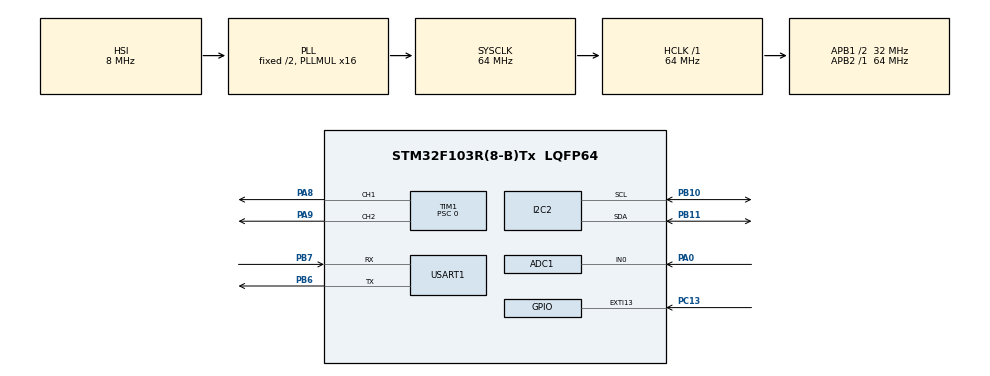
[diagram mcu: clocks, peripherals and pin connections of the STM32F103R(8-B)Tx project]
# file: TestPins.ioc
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ADC1.Channel-1\#ChannelRegularConversion=ADC_CHANNEL_0
ADC1.NbrOfConversionFlag=1
ADC1.Rank-1\#ChannelRegularConversion=1
ADC1.SamplingTime-1\#ChannelRegularConversion=ADC_SAMPLETIME_1CYCLE_5
ADC1.master=1
I2C2.I2C_Mode=I2C_Fast
Mcu.Family=STM32F1
Mcu.Name=STM32F103R(8-B)Tx
Mcu.Package=LQFP64
NVIC.PriorityGroup=NVIC_PRIORITYGROUP_4
NVIC.USART1_IRQn=true\:0\:0\:false\:false\:true\:true\:true\:true
PA0-WKUP.Signal=ADCx_IN0
PA8.Signal=S_TIM1_CH1
PA9.Signal=S_TIM1_CH2
PB10.Mode=I2C
PB10.Signal=I2C2_SCL
PB11.Mode=I2C
PB11.Signal=I2C2_SDA
PB6.Mode=Asynchronous
PB6.Signal=USART1_TX
PB7.Mode=Asynchronous
PB7.Signal=USART1_RX
PC13-TAMPER-RTC.Signal=GPXTI13
ProjectManager.HeapSize=0x200
ProjectManager.StackSize=0x400
ProjectManager.TargetToolchain=MDK-ARM V5.32
RCC.ADCPresc=RCC_ADCPCLK2_DIV6
RCC.AHBFreq_Value=64000000
RCC.APB1CLKDivider=RCC_HCLK_DIV2
RCC.APB1Freq_Value=32000000
RCC.APB1TimFreq_Value=64000000
RCC.APB2Freq_Value=64000000
RCC.APB2TimFreq_Value=64000000
RCC.HCLKFreq_Value=64000000
RCC.PLLMUL=RCC_PLL_MUL16
RCC.SYSCLKFreq_VALUE=64000000
RCC.SYSCLKSource=RCC_SYSCLKSOURCE_PLLCLK
RCC.USBFreq_Value=64000000
SH.ADCx_IN0.0=ADC1_IN0,IN0
SH.S_TIM1_CH1.0=TIM1_CH1,PWM Generation1 CH1
SH.S_TIM1_CH2.0=TIM1_CH2,PWM Generation2 CH2
TIM1.AutoReloadPreload=TIM_AUTORELOAD_PRELOAD_ENABLE
TIM1.Channel-PWM\ Generation1\ CH1=TIM_CHANNEL_1
TIM1.Channel-PWM\ Generation2\ CH2=TIM_CHANNEL_2
TIM1.Period=19999
TIM1.Prescaler=0
TIM1.Pulse-PWM\ Generation1\ CH1=10000
TIM1.Pulse-PWM\ Generation2\ CH2=10000
TIM1.TIM_MasterOutputTrigger=TIM_TRGO_UPDATE
USART1.VirtualMode=VM_ASYNC
VP_SYS_VS_ND.Mode=No_Debug
VP_TIM1_VS_ClockSourceINT.Mode=Internal
board=NUCLEO-F103RB

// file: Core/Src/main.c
/* USER CODE BEGIN Header */
/**
  ******************************************************************************
  * @file           : main.c
  * @brief          : Main program body
  ******************************************************************************
  * @attention
  *
  * Copyright (c) 2026 STMicroelectronics.
  * All rights reserved.
  *
  * This software is licensed under terms that can be found in the LICENSE file
  * in the root directory of this software component.
  * If no LICENSE file comes with this software, it is provided AS-IS.
  *
  ******************************************************************************
  */
/* USER CODE END Header */
#include "main.h"

/* USER CODE BEGIN Includes */
#include <string.h>
#include <stdarg.h>
#include <stdint.h>
#include <stdbool.h>
#include <math.h>

#include "ssd1306.h"
#include "fonts.h"
/* USER CODE END Includes */

/* USER CODE BEGIN PD */
#define WIFI_NAME      "***"
#define WIFI_PASSWORD  "***"

#define SERVER_IP      "172.20.10.2"
#define SERVER_PORT    5000
#define SEND_PERIOD_MS 1000
#define USE_WATCHDOG   1
#define DEBUG_OLED_DC  1
#define AUTO_START     0

#define START_PERCENT     50

#define RAW_SATURATION    4000U
#define Q_SIZE            1024U

#ifndef LED_RED_Pin
#define LED_RED_Pin    GPIO_PIN_8
#endif
#ifndef LED_IR_Pin
#define LED_IR_Pin     GPIO_PIN_9
#endif
#define LED_RED_PIN    ((uint32_t)LED_RED_Pin)
#define LED_IR_PIN     ((uint32_t)LED_IR_Pin)

#define LD2_ON()       (GPIOA->BSRR = (uint32_t)GPIO_PIN_5)           /* zelena LED na Nucleu (PA5) */
#define LD2_OFF()      (GPIOA->BSRR = (uint32_t)GPIO_PIN_5 << 16)
/* USER CODE END PD */

ADC_HandleTypeDef hadc1;

I2C_HandleTypeDef hi2c2;

TIM_HandleTypeDef htim1;

UART_HandleTypeDef huart1;

/* USER CODE BEGIN PV */
/* trajanja u impulsima TIM1 (racunaju se iz SystemCoreClock u Acq_Start) */
static uint32_t T_PHASE, T_MIN, T_START, T_TRIG;
/* USER CODE END PV */

void SystemClock_Config(void);
static void MX_GPIO_Init(void);
static void MX_TIM1_Init(void);
static void MX_ADC1_Init(void);
static void MX_I2C2_Init(void);
static void MX_USART1_UART_Init(void);

/* USER CODE BEGIN 0 */

static int sfmt(char *dst, int cap, const char *fmt, ...)
{
    va_list ap;
    int n = 0;
    va_start(ap, fmt);
#define SFMT_PUT(c) do { if (n < cap - 1) dst[n] = (c); n++; } while (0)
    while (*fmt)
    {
        if (*fmt != '%') { SFMT_PUT(*fmt); fmt++; continue; }
        fmt++;

        int width = 0, prec = -1, lng = 0, len = 0;
        char tmp[12];
        const char *s = tmp;

        while (*fmt >= '0' && *fmt <= '9') { width = width * 10 + (*fmt - '0'); fmt++; }
        if (*fmt == '.')
        {
            fmt++; prec = 0;
            while (*fmt >= '0' && *fmt <= '9') { prec = prec * 10 + (*fmt - '0'); fmt++; }
        }
        if (*fmt == 'l') { lng = 1; fmt++; }
        char t = *fmt;
        if (t) fmt++;

        if (t == 's')
        {
            s = va_arg(ap, const char *);
            while (s[len] && (prec < 0 || len < prec)) len++;
        }
        else if (t == 'd' || t == 'u')
        {
            unsigned long v;
            int neg = 0, k = 0;
            char rev[12];
            if (t == 'd')
            {
                long sv = lng ? va_arg(ap, long) : (long)va_arg(ap, int);
                if (sv < 0) { neg = 1; v = 0UL - (unsigned long)sv; } else v = (unsigned long)sv;
            }
            else v = lng ? va_arg(ap, unsigned long) : (unsigned long)va_arg(ap, unsigned int);
            do { rev[k++] = (char)('0' + (int)(v % 10UL)); v /= 10UL; } while (v);
            if (neg) rev[k++] = '-';
            while (k) tmp[len++] = rev[--k];
        }
        else if (t) { tmp[0] = t; len = 1; }

        for (int p = len; p < width; p++) SFMT_PUT(' ');
        for (int p = 0; p < len; p++)     SFMT_PUT(s[p]);
    }
#undef SFMT_PUT
    if (cap > 0) dst[n < cap ? n : cap - 1] = 0;
    va_end(ap);
    return n;
}

#define FS                200.0f    /* izlazna frekvencija odabiranja (Hz)        */
#define ALPHA_DC          0.0093f   /* IIR koeficijent za DC (fc ~ 0,3 Hz)        */
#define SPO2_A            110.0f    /* SpO2 = SPO2_A - SPO2_B * R (kalibracija prema referentnom oksimetru) */
#define SPO2_B            25.0f
#define DC_LOW            500.0f    /* ispod -> signal slab (AGC povecava sirinu) */
#define DC_HIGH           1600.0f   /* iznad -> signal jak (AGC smanjuje sirinu)  */
#define FINGER_IR_MIN     100.0f    /* IR (RED-AMB) ispod -> nema prsta           */
#define AVG_BEATS         4         /* usrednjavanje rezultata po 4 otkucaja      */
#define BEAT_MIN_SAMPLES  60        /* 300 ms izmedju dva otkucaja                */
#define BEAT_MAX_SAMPLES  400       /* 2 s = 30 otkucaja/min                      */
#define BEAT_LOST_SAMPLES 800       /* 4 s bez otkucaja -> rezultat nije pouzdan  */
#define SETTLE_SAMPLES    600       /* 3 s cekanja posle promene sirine (200 Hz)  */

#define PWM_MIN_TICKS     T_MIN     /* 100 us   */
#define PWM_MAX_TICKS     T_PHASE   /* 312,5 us */
#define PWM_INIT_TICKS    T_START   /* 50 % faze */

/* Elipticni nisko-propusni filter 5. reda: fc = 5 Hz, fs = 200 Hz, talasanje u propusnom opsegu
   0,5 dB, slabljenje u nepropusnom opsegu 40 dB. Tri sekcije drugog reda {b0,b1,b2,a1,a2}
   (prva je zapravo prvog reda). Projektovano sa scipy.signal.ellip(5, 0.5, 40, 5, fs=200, output='sos'). */
static const float ELL[3][5] = {
    { 0.0037368455f,  0.0037368455f, 0.0f,           -0.9286583105f, 0.0f           },
    { 1.0f,          -1.9143121581f, 1.0f,           -1.9020096863f, 0.9171306429f  },
    { 1.0f,          -1.9577637600f, 1.0f,           -1.9544652492f, 0.9795389129f  }
};

/* jedan odbirak kroz filter; z[6] = stanja tri sekcije (direktna forma II, transponovana) */
static float Ellip5(float *z, float x)
{
    for (uint8_t i = 0; i < 3U; i++)
    {
        float y = ELL[i][0] * x + z[2U * i];
        z[2U * i]      = ELL[i][1] * x - ELL[i][3] * y + z[2U * i + 1U];
        z[2U * i + 1U] = ELL[i][2] * x - ELL[i][4] * y;
        x = y;
    }
    return x;
}

/* medijana n (1..4) intervala u odbircima */
static float Median_Interval(const uint16_t *v, uint8_t n)
{
    uint16_t t[AVG_BEATS];
    for (uint8_t i = 0; i < n; i++) t[i] = v[i];
    for (uint8_t i = 1; i < n; i++)                      /* sortiranje umetanjem */
    {
        uint16_t x = t[i];
        int8_t j = (int8_t)i - 1;
        while (j >= 0 && t[j] > x) { t[j + 1] = t[j]; j--; }
        t[j + 1] = x;
    }
    return (n & 1U) ? (float)t[n / 2U] : 0.5f * ((float)t[n / 2U - 1U] + (float)t[n / 2U]);
}

typedef struct {

    uint32_t sum_red, sum_ir, sum_amb;
    uint8_t  avg_count;

    uint16_t pwm_red;
    uint16_t pwm_ir;
    uint32_t agc_hold_timer;

    bool  filt_init;
    float dc_red, dc_ir;
    float ac_red, ac_ir;
    float ac_ir_filt;

    uint32_t sample_counter;
    uint32_t last_peak_sample;
    float    ac_ir_sq_sum, ac_red_sq_sum;
    uint32_t pulse_sample_count;
    float    env;
    bool     armed;
    bool     have_ref;
    uint16_t int_buf[AVG_BEATS];
    float    spo2_buf[AVG_BEATS];         /* R po otkucaju (iz proseka se racuna SpO2) */
    float    zr[6], zi[6];                /* stanja eliptickog filtra: crveni, IR */
    uint8_t  int_n, spo2_n, int_idx, spo2_idx;

    /* izlaz */
    float spo2;
    float r_mean;                 /* prosecno R poslednjih otkucaja */
    float heart_rate;
    bool  finger_present;
    bool  reliable_result;
} Oksimetar;

static Oksimetar my_oximeter;

static void Beat_Reset(Oksimetar *dev)
{
    dev->ac_ir_sq_sum = dev->ac_red_sq_sum = 0.0f;
    dev->pulse_sample_count = 0;
    dev->last_peak_sample = dev->sample_counter;
    dev->armed = false;
    dev->have_ref = false;
    dev->int_n = dev->spo2_n = dev->int_idx = dev->spo2_idx = 0;
    dev->reliable_result = false;
}

static void Oksimetar_Init(Oksimetar *dev)
{
    dev->sum_red = dev->sum_ir = dev->sum_amb = 0;
    dev->avg_count = 0;

    dev->pwm_red = (uint16_t)PWM_INIT_TICKS;
    dev->pwm_ir  = (uint16_t)PWM_INIT_TICKS;
    dev->agc_hold_timer = 0;

    dev->filt_init = false;
    dev->dc_red = dev->dc_ir = 0.0f;
    dev->ac_red = dev->ac_ir = 0.0f;
    dev->ac_ir_filt = 0.0f;
    dev->env = 0.0f;

    dev->sample_counter = 0;
    Beat_Reset(dev);

    dev->spo2 = 0.0f;
    dev->r_mean = 0.0f;
    dev->heart_rate = 0.0f;
    dev->finger_present = false;
}

static void Oksimetar_Process200Hz(Oksimetar *dev)
{
    dev->sample_counter++;
    dev->pulse_sample_count++;

    dev->ac_ir_sq_sum  += dev->ac_ir  * dev->ac_ir;
    dev->ac_red_sq_sum += dev->ac_red * dev->ac_red;

    float a = dev->ac_ir_filt < 0.0f ? -dev->ac_ir_filt : dev->ac_ir_filt;
    dev->env = (a > dev->env) ? a : dev->env * 0.998f;
    float hyst = 0.25f * dev->env;
    if (hyst < 1.5f) hyst = 1.5f;

    uint32_t since = dev->sample_counter - dev->last_peak_sample;

    if (dev->ac_ir_filt < -hyst)
    {
        dev->armed = true;
    }
    else if (dev->armed && dev->ac_ir_filt >= 0.0f)
    {
        dev->armed = false;                              /* svaki prolaz kroz nulu se trosi, i prerani (sum) */

        if (since >= BEAT_MIN_SAMPLES)                   /* ranije od 300 ms = sum, preskoci */
        {
            if (!dev->have_ref)
            {
                dev->have_ref = true;                    /* prvi otkucaj = samo referenca */
            }
            else if (since <= BEAT_MAX_SAMPLES && dev->pulse_sample_count > 10)
            {
                /* 1) interval -> puls: HR = 60 * fs / N, N = medijana poslednjih intervala (otporna na pojedinacne greske) */
                dev->int_buf[dev->int_idx] = (uint16_t)since;
                dev->int_idx = (uint8_t)((dev->int_idx + 1U) % AVG_BEATS);
                if (dev->int_n < AVG_BEATS) dev->int_n++;
                dev->heart_rate = 60.0f * FS / Median_Interval(dev->int_buf, dev->int_n);

                /* 2) RMS filtriranih AC komponenti, R = (AC_RED/DC_RED)/(AC_IR/DC_IR) */
                float ac_ir_rms  = sqrtf(dev->ac_ir_sq_sum  / (float)dev->pulse_sample_count);
                float ac_red_rms = sqrtf(dev->ac_red_sq_sum / (float)dev->pulse_sample_count);
                if (dev->dc_red > 1.0f && dev->dc_ir > 1.0f && ac_ir_rms > 1.0f)
                {
                    float r_ratio = (ac_red_rms / dev->dc_red) / (ac_ir_rms / dev->dc_ir);
                    if (r_ratio >= 0.1f && r_ratio <= 3.5f)
                    {
                        dev->spo2_buf[dev->spo2_idx] = r_ratio;
                        dev->spo2_idx = (uint8_t)((dev->spo2_idx + 1U) % AVG_BEATS);
                        if (dev->spo2_n < AVG_BEATS) dev->spo2_n++;
                    }
                }
                if (dev->spo2_n > 0 && dev->int_n >= 2)
                {
                    float sm = 0.0f;
                    for (uint8_t k = 0; k < dev->spo2_n; k++) sm += dev->spo2_buf[k];
                    dev->r_mean = sm / (float)dev->spo2_n;
                    float s = SPO2_A - SPO2_B * dev->r_mean;
                    if (s > 100.0f) s = 100.0f;
                    if (s < 0.0f)   s = 0.0f;
                    dev->spo2 = s;
                    dev->reliable_result = true;
                }
            }

            dev->last_peak_sample = dev->sample_counter;
            dev->ac_ir_sq_sum = dev->ac_red_sq_sum = 0.0f;
            dev->pulse_sample_count = 0;
        }
    }
    else if (since > BEAT_LOST_SAMPLES)
    {
        Beat_Reset(dev);                                 /* predugo bez otkucaja: trazi iznova */
    }
}

static void Oksimetar_ProcessMultiplexSample(Oksimetar *dev, uint16_t red, uint16_t ir, uint16_t amb)
{
    dev->sum_red += red;
    dev->sum_ir  += ir;
    dev->sum_amb += amb;
    dev->avg_count++;

    if (dev->avg_count < 4) return;

    float avg_red = (float)dev->sum_red / 4.0f;
    float avg_ir  = (float)dev->sum_ir  / 4.0f;
    float avg_amb = (float)dev->sum_amb / 4.0f;
    dev->sum_red = dev->sum_ir = dev->sum_amb = 0;
    dev->avg_count = 0;

    /* korekcija ambijentalnog svetla: izrazi (14) i (15) */
    float red_corr = avg_red - avg_amb;
    float ir_corr  = avg_ir  - avg_amb;
    if (red_corr < 0.0f) red_corr = 0.0f;
    if (ir_corr  < 0.0f) ir_corr  = 0.0f;

    /* prisustvo prsta */
    if (ir_corr > FINGER_IR_MIN)
    {
        dev->finger_present = true;
    }
    else
    {
        dev->finger_present = false;
        dev->filt_init = false;                          /* sledeci prst pocinje cist */
        dev->agc_hold_timer = 0;
        dev->pwm_red = (uint16_t)PWM_INIT_TICKS;
        dev->pwm_ir  = (uint16_t)PWM_INIT_TICKS;
        Beat_Reset(dev);
        return;
    }

    /* IIR: DC komponenta, a AC = signal - DC */
    if (!dev->filt_init)
    {
        dev->dc_red = red_corr;                          /* bez dugog prelaznog procesa od nule */
        dev->dc_ir  = ir_corr;
        dev->ac_ir_filt = 0.0f;
        memset(dev->zr, 0, sizeof(dev->zr));             /* stanja eliptickog filtra */
        memset(dev->zi, 0, sizeof(dev->zi));
        dev->filt_init = true;
    }
    dev->dc_red += ALPHA_DC * (red_corr - dev->dc_red);
    dev->dc_ir  += ALPHA_DC * (ir_corr  - dev->dc_ir);
    /* AC = (signal - DC) kroz eliptic LP filter 5. reda (fc = 5 Hz); isti filter za oba kanala */
    dev->ac_red = Ellip5(dev->zr, red_corr - dev->dc_red);
    dev->ac_ir  = Ellip5(dev->zi, ir_corr  - dev->dc_ir);
    dev->ac_ir_filt = dev->ac_ir;

    /* AGC: sirina PWM impulsa tako da DC ostane u opsegu 500 - 1600 */
    if (dev->agc_hold_timer > 0)
    {
        dev->agc_hold_timer--;
        if (dev->agc_hold_timer == 0) Beat_Reset(dev);   /* posle cekanja nov pocetak detekcije */
        return;                                          /* dok traje cekanje, SpO2 se ne racuna */
    }

    bool adjust = false;
    if (dev->dc_red < DC_LOW && dev->pwm_red < PWM_MAX_TICKS)       { dev->pwm_red = (uint16_t)(dev->pwm_red * 1.2f); adjust = true; }
    else if (dev->dc_red > DC_HIGH && dev->pwm_red > PWM_MIN_TICKS) { dev->pwm_red = (uint16_t)(dev->pwm_red * 0.8f); adjust = true; }

    if (dev->dc_ir < DC_LOW && dev->pwm_ir < PWM_MAX_TICKS)         { dev->pwm_ir = (uint16_t)(dev->pwm_ir * 1.2f);  adjust = true; }
    else if (dev->dc_ir > DC_HIGH && dev->pwm_ir > PWM_MIN_TICKS)   { dev->pwm_ir = (uint16_t)(dev->pwm_ir * 0.8f);  adjust = true; }

    if (dev->pwm_red > PWM_MAX_TICKS) dev->pwm_red = (uint16_t)PWM_MAX_TICKS;
    if (dev->pwm_red < PWM_MIN_TICKS) dev->pwm_red = (uint16_t)PWM_MIN_TICKS;
    if (dev->pwm_ir  > PWM_MAX_TICKS) dev->pwm_ir  = (uint16_t)PWM_MAX_TICKS;
    if (dev->pwm_ir  < PWM_MIN_TICKS) dev->pwm_ir  = (uint16_t)PWM_MIN_TICKS;

    if (adjust)
    {
        dev->agc_hold_timer = SETTLE_SAMPLES;            /* 3 s da se IIR stabilizuje */
        Beat_Reset(dev);
        return;
    }

    Oksimetar_Process200Hz(dev);                         /* puls i SpO2 */
}

typedef struct { uint16_t red, ir, amb; } Raw_t;

static volatile uint16_t adc_buf[4];     /* upisuje DMA: RED, IR, AMB, pauza */
static volatile uint8_t  g_phase;
static volatile uint8_t  g_leds_on;      /* 1 = LED dozvoljene (merenje je ukljuceno) */
static volatile uint8_t  g_measuring;    /* 1 = odbirci idu u red */
static Raw_t             q[Q_SIZE];
static volatile uint16_t q_head, q_tail;
static volatile uint16_t q_overflow;     /* izgubljeni odbirci (gledaj u debageru) */
static volatile uint16_t dma_resync;     /* mora da miruje */
static uint16_t          sat_hold;       /* > 0: nedavno je bilo zasicenje (odbrojava se po odbirku) */
static volatile uint8_t  system_active;  /* 1 = merenje ukljuceno (dugme B1) */

/* kraj ciklusa (DMA upisao 4 odbirka): ide u red, obradu radi glavni program */
static void Acq_ProcessCycle(void)
{
    if (!g_measuring) return;
    uint16_t n = (uint16_t)((q_head + 1U) & (Q_SIZE - 1U));
    if (n != q_tail)
    {
        q[q_head].red = adc_buf[0];
        q[q_head].ir  = adc_buf[1];
        q[q_head].amb = adc_buf[2];
        q_head = n;
    }
    else q_overflow++;
}

/* upis CCR (preload) za fazu ph: stupa na snagu na sledecem UPDATE-u */
static inline void Acq_ProgramPhase(uint8_t ph)
{
    uint32_t r = 0U, i = 0U, trig = T_TRIG;
    if (g_leds_on)
    {
        if (ph == 0U)      r = my_oximeter.pwm_red;      /* sirinu odredjuje AGC */
        else if (ph == 1U) i = my_oximeter.pwm_ir;
    }
    TIM1->CCR1 = r;
    TIM1->CCR2 = i;
    TIM1->CCR3 = trig;
}

/* pocetak svake faze */
void TIM1_UP_IRQHandler(void)
{
    if (TIM1->SR & TIM_SR_UIF)
    {
        TIM1->SR = ~TIM_SR_UIF;
        uint8_t ph = (uint8_t)((g_phase + 1U) & 3U);
        g_phase = ph;
        if (ph == 0U && DMA1_Channel1->CNDTR != 4U)       /* DMA nije na pocetku ciklusa */
        {
            DMA1_Channel1->CCR  &= ~DMA_CCR_EN;
            DMA1_Channel1->CNDTR = 4U;
            DMA1_Channel1->CCR  |= DMA_CCR_EN;
            dma_resync++;
        }
        Acq_ProgramPhase((uint8_t)((ph + 1U) & 3U));
    }
}

void DMA1_Channel1_IRQHandler(void)
{
    if (DMA1->ISR & DMA_ISR_TCIF1)
    {
        DMA1->IFCR = DMA_IFCR_CGIF1;
        Acq_ProcessCycle();
    }
}

/* TIM1 + ADC1 + DMA1 preko registara (ne zavisi od CubeMX vrednosti) i start PWM-a */
static void Acq_Start(void)
{
    T_PHASE  = SystemCoreClock / 3200UL;            /* 312,5 us */
    T_MIN    = SystemCoreClock / 10000UL;           /* 100 us   */
    T_START  = T_PHASE * START_PERCENT / 100UL;
    T_TRIG   = SystemCoreClock / 20000UL;           /*  50 us   */

    RCC->APB2ENR |= RCC_APB2ENR_ADC1EN | RCC_APB2ENR_IOPAEN | RCC_APB2ENR_IOPCEN
                  | RCC_APB2ENR_AFIOEN | RCC_APB2ENR_TIM1EN;
    RCC->AHBENR  |= RCC_AHBENR_DMA1EN;
    RCC->CFGR = (RCC->CFGR & ~RCC_CFGR_ADCPRE) | RCC_CFGR_ADCPRE_DIV6;   /* ADC takt < 14 MHz */
    (void)RCC->APB2ENR;
    AFIO->MAPR = (AFIO->MAPR & ~AFIO_MAPR_SWJ_CFG) | AFIO_MAPR_SWJ_CFG_JTAGDISABLE;   /* SWD ostaje ukljucen (PA13/PA14) */

    /* PA0 analogni ulaz; PA8/PA9 izlazi na 0 dok PWM ne krene (LED ugasene) */
    GPIOA->CRL &= ~(0xFUL << 0);
    GPIOA->BRR  = LED_RED_PIN | LED_IR_PIN;
    GPIOA->CRH  = (GPIOA->CRH & ~0xFFUL) | 0x33UL;

    GPIOC->CRH = (GPIOC->CRH & ~(0xFUL << 20)) | (0x8UL << 20);          /* PC13 ulaz sa pull-up/down */
    GPIOC->BSRR = (1UL << 13);                                           /* pull-up */
    AFIO->EXTICR[3] = (AFIO->EXTICR[3] & ~(0xFUL << 4)) | (0x2UL << 4);   /* EXTI13 = port C */
    EXTI->RTSR &= ~(1UL << 13);                                          /* ne reaguj na otpustanje dugmeta (CubeMX je ukljucio rastucu ivicu) */
    EXTI->FTSR |= (1UL << 13);
    EXTI->IMR  |= (1UL << 13);
    EXTI->PR    = (1UL << 13);

    /* ADC1: ukljuci, kalibracija, kanal 0, 71,5 ciklusa, 1 konverzija */
    ADC1->CR1 = 0U;
    ADC1->CR2 = ADC_CR2_ADON;
    for (volatile uint32_t k = 0; k < 400U; k++) { }
    ADC1->CR2 |= ADC_CR2_RSTCAL;  while (ADC1->CR2 & ADC_CR2_RSTCAL) { }
    ADC1->CR2 |= ADC_CR2_CAL;     while (ADC1->CR2 & ADC_CR2_CAL)    { }
    ADC1->SMPR2 = (ADC1->SMPR2 & ~ADC_SMPR2_SMP0) | (6UL << ADC_SMPR2_SMP0_Pos);
    ADC1->SQR1 = 0U;
    ADC1->SQR3 = 0U;

    /* DMA1 kanal 1: ADC1->DR -> adc_buf[4], kruzno, 16 bita, prekid na kraju */
    DMA1_Channel1->CCR   = 0U;
    DMA1->IFCR           = DMA_IFCR_CGIF1;
    DMA1_Channel1->CPAR  = (uint32_t)&ADC1->DR;
    DMA1_Channel1->CMAR  = (uint32_t)adc_buf;
    DMA1_Channel1->CNDTR = 4U;
    DMA1_Channel1->CCR   = DMA_CCR_MINC | DMA_CCR_CIRC | DMA_CCR_PSIZE_0 | DMA_CCR_MSIZE_0
                         | DMA_CCR_PL_1 | DMA_CCR_TCIE;
    DMA1_Channel1->CCR  |= DMA_CCR_EN;
    NVIC_SetPriority(DMA1_Channel1_IRQn, 1);
    NVIC_EnableIRQ(DMA1_Channel1_IRQn);

    ADC1->CR2 = (ADC1->CR2 & ~(ADC_CR2_EXTSEL | ADC_CR2_EXTTRIG | ADC_CR2_CONT | ADC_CR2_ALIGN))
              | (2UL << ADC_CR2_EXTSEL_Pos) | ADC_CR2_DMA;

    TIM1->CR1   = 0U;  TIM1->CR2 = 0U;  TIM1->SMCR = 0U;  TIM1->DIER = 0U;
    TIM1->PSC   = 0U;
    TIM1->ARR   = T_PHASE - 1UL;
    TIM1->RCR   = 0U;
    TIM1->CCMR1 = (6UL << TIM_CCMR1_OC1M_Pos) | TIM_CCMR1_OC1PE
                | (6UL << TIM_CCMR1_OC2M_Pos) | TIM_CCMR1_OC2PE;
    TIM1->CCMR2 = (7UL << TIM_CCMR2_OC3M_Pos) | TIM_CCMR2_OC3PE;
    TIM1->CCER  = TIM_CCER_CC1E | TIM_CCER_CC2E | TIM_CCER_CC3E;
    TIM1->BDTR  = TIM_BDTR_MOE;
    TIM1->CR1   = TIM_CR1_ARPE;

    g_phase = 0U;
    Acq_ProgramPhase(0U);
    TIM1->EGR = TIM_EGR_UG;
    TIM1->SR  = 0U;
    Acq_ProgramPhase(1U);

    NVIC_SetPriority(TIM1_UP_IRQn, 0);
    NVIC_EnableIRQ(TIM1_UP_IRQn);
    TIM1->DIER = TIM_DIER_UIE;
    ADC1->CR2 |= ADC_CR2_EXTTRIG;
    GPIOA->CRH = (GPIOA->CRH & ~0xFFUL) | 0xBBUL;
    TIM1->CR1 |= TIM_CR1_CEN;
}

static void Acq_Drain(void)
{
    while (q_tail != q_head)
    {
        Raw_t s = q[q_tail];
        q_tail = (uint16_t)((q_tail + 1U) & (Q_SIZE - 1U));

        if (s.red >= RAW_SATURATION || s.ir >= RAW_SATURATION || s.amb >= RAW_SATURATION) sat_hold = 1600;   /* 2 s */
        else if (sat_hold) sat_hold--;

        Oksimetar_ProcessMultiplexSample(&my_oximeter, s.red, s.ir, s.amb);
    }
}

/* ukljuci / iskljuci merenje (dugme B1) */
static void Measure_Set(uint8_t on)
{
    g_measuring = 0;
    g_leds_on   = 0;
    q_tail = q_head;
    sat_hold = 0;
    Oksimetar_Init(&my_oximeter);
    system_active = on;
    if (on) { g_measuring = 1; g_leds_on = 1; }
}

static void Button_Poll(void)
{

    static uint8_t  prev = 1;
    static uint32_t t_last;
    uint8_t lvl = (uint8_t)((GPIOC->IDR >> 13) & 1U);
    if (prev && !lvl)                                  /* padajuca ivica = pritisak */
    {
        uint32_t now = HAL_GetTick();
        if ((now - t_last) > 200U)                     /* zastita od treperenja kontakata */
        {
            t_last = now;
            Measure_Set(!system_active);
        }
    }
    prev = lvl;
}

static uint8_t oled_ok;
static char    oled_status[24] = "Pulsni oksimetar";
static int16_t disp_spo2 = -1, disp_hr = -1;

static void Oled_Status(const char *s)
{
    uint8_t i = 0;
    while (s[i] && i < sizeof(oled_status) - 1U) { oled_status[i] = s[i]; i++; }
    oled_status[i] = 0;
}

static void Oled_Draw(void)
{
    char b[24];

    SSD1306_Fill(SSD1306_COLOR_BLACK);

    SSD1306_GotoXY(0, 0);
    SSD1306_Puts("Pulsni oksimetar", &Font_7x10, SSD1306_COLOR_WHITE);

    if (disp_spo2 >= 0) sfmt(b, sizeof(b), "SpO2: %d %%", disp_spo2);
    else                sfmt(b, sizeof(b), "SpO2: --");
    SSD1306_GotoXY(0, 24);
    SSD1306_Puts(b, &Font_7x10, SSD1306_COLOR_WHITE);

    if (disp_hr >= 0) sfmt(b, sizeof(b), "HR: %d bpm", disp_hr);
    else              sfmt(b, sizeof(b), "HR: --");
    SSD1306_GotoXY(0, 44);
    SSD1306_Puts(b, &Font_7x10, SSD1306_COLOR_WHITE);

    SSD1306_GotoXY(0, 54);                               /* status: Wi-Fi / server */
    SSD1306_Puts(oled_status, &Font_7x10, SSD1306_COLOR_WHITE);

    SSD1306_UpdateScreen();
}

static void Oled_Refresh(void)
{
    if (oled_ok)
    {
        if (HAL_I2C_IsDeviceReady(&hi2c2, SSD1306_I2C_ADDR, 1, 10) != HAL_OK)
        {
            oled_ok = 0;                                    /* ekran nestao: preskoci, probace opet */
            return;
        }
    }
    else
    {
        if (HAL_I2C_IsDeviceReady(&hi2c2, SSD1306_I2C_ADDR, 2, 30) != HAL_OK) return;   /* nema ga */
        SSD1306_Init();
        oled_ok = 1;
    }
    Oled_Draw();
}

#define ESP_BUF_SZ   512

static char     esp_buf[ESP_BUF_SZ];
static uint16_t esp_n;

static uint8_t  consec_fail;

/* Prijem sa ESP-a ide u DMA kruzni bafer (DMA1 kanal 5 = USART1_RX), pa nijedan bajt ne moze da se
   izgubi dok glavni program racuna SpO2 (jedan obracun traje duze od trajanja jednog bajta na 115200). */
#define RX_RING 512U                                     /* stepen dvojke */
static uint8_t  rx_ring[RX_RING];
static uint16_t rx_tail;

static void Uart_RxStart(void)
{
    RCC->AHBENR |= RCC_AHBENR_DMA1EN;
    DMA1_Channel5->CCR   = 0U;
    DMA1->IFCR           = DMA_IFCR_CGIF5;
    DMA1_Channel5->CPAR  = (uint32_t)&USART1->DR;
    DMA1_Channel5->CMAR  = (uint32_t)rx_ring;
    DMA1_Channel5->CNDTR = RX_RING;
    DMA1_Channel5->CCR   = DMA_CCR_MINC | DMA_CCR_CIRC;  /* 8 bita, periferija -> memorija, bez prekida */
    DMA1_Channel5->CCR  |= DMA_CCR_EN;
    USART1->CR3 |= USART_CR3_DMAR;
    rx_tail = 0U;
}

static void Uart_Config(uint32_t baud)
{
    huart1.Init.BaudRate = baud;
    HAL_UART_Init(&huart1);                              /* brise CR3, pa se DMA prijem ukljucuje iznova */
    Uart_RxStart();
}

static inline int Uart_RxByte(uint8_t *c)
{
    uint16_t head = (uint16_t)(RX_RING - DMA1_Channel5->CNDTR) & (RX_RING - 1U);
    if (head == rx_tail) return 0;
    *c = rx_ring[rx_tail];
    rx_tail = (uint16_t)((rx_tail + 1U) & (RX_RING - 1U));
    return 1;
}

static inline void Uart_Tx(const char *s, uint16_t n)
{
    HAL_UART_Transmit(&huart1, (uint8_t *)s, n, 1000);
}

static inline void Wdg_Kick(void)
{
#if USE_WATCHDOG
    IWDG->KR = 0xAAAA;
#endif
}

static void Wdg_Init(void)
{
#if USE_WATCHDOG
    __HAL_DBGMCU_FREEZE_IWDG();       /* dok si u debageru i stanes na breakpoint, cuvar staje */
    IWDG->KR  = 0x5555;               /* dozvoli upis */
    IWDG->PR  = 6;                    /* LSI ~40 kHz / 256 */
    IWDG->RLR = 0x0FFF;               /* 4096 * 256 / 40 kHz = ~26 s (najmanje ~17 s ako je LSI 60 kHz) */
    IWDG->KR  = 0xAAAA;
    IWDG->KR  = 0xCCCC;
#endif
}

static void Esp_Clear(void)
{
    { uint8_t d; while (Uart_RxByte(&d)) { } }
    esp_buf[0] = 0;
    esp_n = 0;
}

static void Esp_Store(uint8_t c)
{
    if (esp_n >= ESP_BUF_SZ - 1)
    {
        memmove(esp_buf, esp_buf + ESP_BUF_SZ / 2, ESP_BUF_SZ / 2);
        esp_n = ESP_BUF_SZ / 2 - 1;
    }
    esp_buf[esp_n++] = (char)c;
    esp_buf[esp_n] = 0;
}

static uint8_t Measure_Get(uint8_t *spo2, uint8_t *hr);
static void    Oled_Live(void);

static void Esp_Pump(void)
{
    uint8_t c;
    while (Uart_RxByte(&c)) Esp_Store(c);
    Acq_Drain();
    Button_Poll();                               /* dugme B1 radi i dok se ceka odgovor ESP-a */
}

static uint8_t Esp_Wait2(const char *ok, const char *fail, uint32_t timeout_ms)
{
    uint32_t t0 = HAL_GetTick();
    for (;;)
    {
        Wdg_Kick();
        Esp_Pump();
        if (ok   && strstr(esp_buf, ok))   return 1;
        if (fail && strstr(esp_buf, fail)) return 2;
        if ((HAL_GetTick() - t0) >= timeout_ms) return 0;
    }
}

static uint8_t Esp_Cmd2(const char *cmd, const char *ok, const char *fail, uint32_t timeout_ms)
{
    Esp_Clear();
    Uart_Tx(cmd, (uint16_t)strlen(cmd));
    return Esp_Wait2(ok, fail, timeout_ms);
}

static uint8_t Esp_Cmd(const char *cmd, const char *ok, uint32_t timeout_ms)
{
    return Esp_Cmd2(cmd, ok, "ERROR", timeout_ms) == 1;
}

static void Esp_Idle(uint32_t ms)
{
    uint32_t t0 = HAL_GetTick();
    while ((HAL_GetTick() - t0) < ms) { Wdg_Kick(); Esp_Pump(); Oled_Live(); }
}

static void Blink(uint8_t times, uint16_t on_ms, uint16_t off_ms)
{
    for (uint8_t i = 0; i < times; i++)
    {
        LD2_ON();  Esp_Idle(on_ms);
        LD2_OFF(); Esp_Idle(off_ms);
    }
}

static uint8_t Esp_Detect(void)
{
    const uint32_t bauds[2] = { 115200U, 9600U };
    for (uint8_t i = 0; i < 2; i++)
    {
        Uart_Config(bauds[i]);
        for (uint8_t k = 0; k < 3; k++)
        {
            if (Esp_Cmd("AT\r\n", "OK", 1000))
            {
                if (i == 1)                                  /* ESP je na 9600: prebaci ga na 115200 */
                {
                    Esp_Cmd("AT+UART_DEF=115200,8,1,0,0\r\n", "OK", 1000);
                    Uart_Config(115200U);
                    Esp_Idle(100);
                    if (!Esp_Cmd("AT\r\n", "OK", 1000)) return 0;
                }
                return 1;
            }
        }
    }
    return 0;
}

static void Esp_Setup(void)
{
    Esp_Cmd("AT+CWMODE=1\r\n", "OK", 1000);
    Esp_Cmd("AT+CIPMUX=0\r\n", "OK", 1000);
}

static uint8_t wifi_err;

static uint8_t Wifi_Join(void)
{
    char cmd[128];
    sfmt(cmd, sizeof(cmd), "AT+CWJAP=\"%s\",\"%s\"\r\n", WIFI_NAME, WIFI_PASSWORD);
    if (Esp_Cmd2(cmd, "WIFI GOT IP", "FAIL", 20000) == 1)
    {
        Esp_Wait2("OK", NULL, 1500);
        return 1;
    }
    {
        char *p = strstr(esp_buf, "+CWJAP:");
        wifi_err = p ? (uint8_t)(p[7] - '0') : 9U;
    }
    return 0;
}

static uint8_t Tcp_Open(void)
{
    char     cmd[96];
    uint8_t  r;

    Esp_Cmd("AT+CIPCLOSE\r\n", "OK", 500);

    sfmt(cmd, sizeof(cmd), "AT+CIPSTART=\"TCP\",\"%s\",%d\r\n", SERVER_IP, SERVER_PORT);
    r = Esp_Cmd2(cmd, "OK", "ERROR", 8000);
    return (r == 1 || strstr(esp_buf, "ALREADY")) ? 1 : 0;
}

static uint8_t Link_Ensure(void)
{
    if (consec_fail >= 3 && !Wifi_Join()) return 0;          /* izgubljen Wi-Fi: ponovo se prijavi */
    return Tcp_Open();
}

static uint8_t Post_Measurement(uint32_t seq, uint8_t spo2, uint8_t hr)
{
    char body[64];
    char req[256];
    char cmd[24];

    int bl = sfmt(body, sizeof(body), "{\"n\":%lu,\"spo2\":%u,\"hr\":%u}",
                      (unsigned long)seq, (unsigned)spo2, (unsigned)hr);
    int rl = sfmt(req, sizeof(req),
                      "POST /api/merenja HTTP/1.1\r\n"
                      "Host: %s:%d\r\n"
                      "Content-Type: application/json\r\n"
                      "Content-Length: %d\r\n"
                      "Connection: close\r\n"
                      "\r\n"
                      "%s",
                      SERVER_IP, SERVER_PORT, bl, body);
    if (bl <= 0 || rl <= 0 || rl >= (int)sizeof(req)) return 0;

    sfmt(cmd, sizeof(cmd), "AT+CIPSEND=%d\r\n", rl);
    if (Esp_Cmd2(cmd, ">", "ERROR", 2000) != 1) return 0;
    if (Esp_Cmd2(req, "SEND OK", "FAIL", 3000) != 1) return 0;
    if (Esp_Wait2("200 OK", "CLOSED", 3000) != 1) return 0;
    Esp_Cmd("AT+CIPCLOSE\r\n", "OK", 1000);
    return 1;
}

static uint8_t Measure_Get(uint8_t *spo2, uint8_t *hr)
{
    const Oksimetar *d = &my_oximeter;
    if (!system_active || !d->finger_present || !d->reliable_result || sat_hold) return 0;
    float s = d->spo2 + 0.5f, h = d->heart_rate + 0.5f;
    if (s < 1.0f || h < 1.0f || s > 100.5f || h > 255.0f) return 0;
    *spo2 = (uint8_t)s;
    *hr   = (uint8_t)h;
    return 1;
}

static void Oled_Live(void)
{
    static uint32_t t_last;
    uint32_t now = HAL_GetTick();
    if ((now - t_last) < 400U) return;
    t_last = now;
    uint8_t s, h;
    if (Measure_Get(&s, &h)) { disp_spo2 = s; disp_hr = h; }
    else                     { disp_spo2 = -1; disp_hr = -1; }
    Oled_Refresh();
}

static void Led_Init(void)
{
    GPIO_InitTypeDef g = {0};
    __HAL_RCC_GPIOA_CLK_ENABLE();
    g.Pin   = GPIO_PIN_5;
    g.Mode  = GPIO_MODE_OUTPUT_PP;
    g.Pull  = GPIO_NOPULL;
    g.Speed = GPIO_SPEED_FREQ_LOW;
    HAL_GPIO_Init(GPIOA, &g);
    LD2_OFF();
}

static void Link_Run(void)
{
    Led_Init();
    Acq_Start();                                             /* TIM1 vrti faze; LED ugasene dok se merenje ne ukljuci */
    Measure_Set(AUTO_START);
    Oled_Refresh();
    Esp_Idle(2500);
    Wdg_Init();

    Oled_Status("Trazim ESP...");
    Oled_Refresh();
    while (!Esp_Detect())                                    /* ESP ne odgovara: brzo trepce pa ponovo */
    {
        Wdg_Kick();
        Oled_Status("ESP ne odgovara");
        Oled_Refresh();
        Blink(10, 100, 100);
    }
    Esp_Idle(1000);
    Esp_Setup();

    Oled_Status("Spajam Wi-Fi...");
    Oled_Refresh();
    while (!Wifi_Join())
    {
        char st[24];
        Wdg_Kick();
        sfmt(st, sizeof(st), "Wi-Fi greska %d", (int)wifi_err);
        Oled_Status(st);
        Oled_Refresh();
        Blink(1, 500, 500);
    }
    LD2_ON();
    Oled_Status(system_active ? "Wi-Fi OK" : "Wi-Fi OK  B1=start");

    uint32_t seq   = 1;
    uint32_t next  = HAL_GetTick();
    uint8_t  pend  = 0;
    uint8_t  p_spo2 = 0, p_hr = 0;

    for (;;)
    {
        if (!pend) pend = Measure_Get(&p_spo2, &p_hr);

        if (pend)
        {
            if (Link_Ensure() && Post_Measurement(seq, p_spo2, p_hr))
            {
                char st[24];
                consec_fail = 0;
                LD2_ON();
                sfmt(st, sizeof(st), "Server OK  n=%lu", (unsigned long)seq);
                Oled_Status(st);
                seq++; pend = 0;
            }
            else
            {
                consec_fail++;
                Oled_Status("Greska, ponovo...");
                Blink(3, 150, 150);
                Esp_Cmd("AT+CIPCLOSE\r\n", "OK", 500);
            }
        }

        next += SEND_PERIOD_MS;
        if ((int32_t)(HAL_GetTick() - next) > 0) next = HAL_GetTick();
        while ((int32_t)(HAL_GetTick() - next) < 0) Esp_Idle(20);
    }
}

/* USER CODE END 0 */

int main(void)
{

  /* MCU Configuration--------------------------------------------------------*/

  /* Reset of all peripherals, Initializes the Flash interface and the Systick. */
  HAL_Init();

  /* Configure the system clock */
  SystemClock_Config();

  /* Initialize all configured peripherals */
  MX_GPIO_Init();
  MX_TIM1_Init();
  MX_ADC1_Init();
  MX_I2C2_Init();
  MX_USART1_UART_Init();
  /* USER CODE BEGIN 2 */
  Link_Run();
  /* USER CODE END 2 */

  /* Infinite loop */
  while (1)
  {

  }
}

void SystemClock_Config(void)
{
  RCC_OscInitTypeDef RCC_OscInitStruct = {0};
  RCC_ClkInitTypeDef RCC_ClkInitStruct = {0};
  RCC_PeriphCLKInitTypeDef PeriphClkInit = {0};

  /** Initializes the RCC Oscillators according to the specified parameters
  * in the RCC_OscInitTypeDef structure.
  */
  RCC_OscInitStruct.OscillatorType = RCC_OSCILLATORTYPE_HSI;
  RCC_OscInitStruct.HSIState = RCC_HSI_ON;
  RCC_OscInitStruct.HSICalibrationValue = RCC_HSICALIBRATION_DEFAULT;
  RCC_OscInitStruct.PLL.PLLState = RCC_PLL_ON;
  RCC_OscInitStruct.PLL.PLLSource = RCC_PLLSOURCE_HSI_DIV2;
  RCC_OscInitStruct.PLL.PLLMUL = RCC_PLL_MUL16;
  if (HAL_RCC_OscConfig(&RCC_OscInitStruct) != HAL_OK)
  {
    Error_Handler();
  }

  /** Initializes the CPU, AHB and APB buses clocks
  */
  RCC_ClkInitStruct.ClockType = RCC_CLOCKTYPE_HCLK|RCC_CLOCKTYPE_SYSCLK
                              |RCC_CLOCKTYPE_PCLK1|RCC_CLOCKTYPE_PCLK2;
  RCC_ClkInitStruct.SYSCLKSource = RCC_SYSCLKSOURCE_PLLCLK;
  RCC_ClkInitStruct.AHBCLKDivider = RCC_SYSCLK_DIV1;
  RCC_ClkInitStruct.APB1CLKDivider = RCC_HCLK_DIV2;
  RCC_ClkInitStruct.APB2CLKDivider = RCC_HCLK_DIV1;

  if (HAL_RCC_ClockConfig(&RCC_ClkInitStruct, FLASH_LATENCY_2) != HAL_OK)
  {
    Error_Handler();
  }
  PeriphClkInit.PeriphClockSelection = RCC_PERIPHCLK_ADC;
  PeriphClkInit.AdcClockSelection = RCC_ADCPCLK2_DIV6;
  if (HAL_RCCEx_PeriphCLKConfig(&PeriphClkInit) != HAL_OK)
  {
    Error_Handler();
  }
}

static void MX_ADC1_Init(void)
{

  ADC_ChannelConfTypeDef sConfig = {0};

  /** Common config
  */
  hadc1.Instance = ADC1;
  hadc1.Init.ScanConvMode = ADC_SCAN_DISABLE;
  hadc1.Init.ContinuousConvMode = DISABLE;
  hadc1.Init.DiscontinuousConvMode = DISABLE;
  hadc1.Init.ExternalTrigConv = ADC_SOFTWARE_START;
  hadc1.Init.DataAlign = ADC_DATAALIGN_RIGHT;
  hadc1.Init.NbrOfConversion = 1;
  if (HAL_ADC_Init(&hadc1) != HAL_OK)
  {
    Error_Handler();
  }

  /** Configure Regular Channel
  */
  sConfig.Channel = ADC_CHANNEL_0;
  sConfig.Rank = ADC_REGULAR_RANK_1;
  sConfig.SamplingTime = ADC_SAMPLETIME_1CYCLE_5;
  if (HAL_ADC_ConfigChannel(&hadc1, &sConfig) != HAL_OK)
  {
    Error_Handler();
  }

}

static void MX_I2C2_Init(void)
{

  hi2c2.Instance = I2C2;
  hi2c2.Init.ClockSpeed = 400000;
  hi2c2.Init.DutyCycle = I2C_DUTYCYCLE_2;
  hi2c2.Init.OwnAddress1 = 0;
  hi2c2.Init.AddressingMode = I2C_ADDRESSINGMODE_7BIT;
  hi2c2.Init.DualAddressMode = I2C_DUALADDRESS_DISABLE;
  hi2c2.Init.OwnAddress2 = 0;
  hi2c2.Init.GeneralCallMode = I2C_GENERALCALL_DISABLE;
  hi2c2.Init.NoStretchMode = I2C_NOSTRETCH_DISABLE;
  if (HAL_I2C_Init(&hi2c2) != HAL_OK)
  {
    Error_Handler();
  }

}

static void MX_TIM1_Init(void)
{

  TIM_ClockConfigTypeDef sClockSourceConfig = {0};
  TIM_MasterConfigTypeDef sMasterConfig = {0};
  TIM_OC_InitTypeDef sConfigOC = {0};
  TIM_BreakDeadTimeConfigTypeDef sBreakDeadTimeConfig = {0};

  htim1.Instance = TIM1;
  htim1.Init.Prescaler = 0;
  htim1.Init.CounterMode = TIM_COUNTERMODE_UP;
  htim1.Init.Period = 19999;
  htim1.Init.ClockDivision = TIM_CLOCKDIVISION_DIV1;
  htim1.Init.RepetitionCounter = 0;
  htim1.Init.AutoReloadPreload = TIM_AUTORELOAD_PRELOAD_ENABLE;
  if (HAL_TIM_Base_Init(&htim1) != HAL_OK)
  {
    Error_Handler();
  }
  sClockSourceConfig.ClockSource = TIM_CLOCKSOURCE_INTERNAL;
  if (HAL_TIM_ConfigClockSource(&htim1, &sClockSourceConfig) != HAL_OK)
  {
    Error_Handler();
  }
  if (HAL_TIM_PWM_Init(&htim1) != HAL_OK)
  {
    Error_Handler();
  }
  sMasterConfig.MasterOutputTrigger = TIM_TRGO_UPDATE;
  sMasterConfig.MasterSlaveMode = TIM_MASTERSLAVEMODE_DISABLE;
  if (HAL_TIMEx_MasterConfigSynchronization(&htim1, &sMasterConfig) != HAL_OK)
  {
    Error_Handler();
  }
  sConfigOC.OCMode = TIM_OCMODE_PWM1;
  sConfigOC.Pulse = 10000;
  sConfigOC.OCPolarity = TIM_OCPOLARITY_HIGH;
  sConfigOC.OCNPolarity = TIM_OCNPOLARITY_HIGH;
  sConfigOC.OCFastMode = TIM_OCFAST_DISABLE;
  sConfigOC.OCIdleState = TIM_OCIDLESTATE_RESET;
  sConfigOC.OCNIdleState = TIM_OCNIDLESTATE_RESET;
  if (HAL_TIM_PWM_ConfigChannel(&htim1, &sConfigOC, TIM_CHANNEL_1) != HAL_OK)
  {
    Error_Handler();
  }
  if (HAL_TIM_PWM_ConfigChannel(&htim1, &sConfigOC, TIM_CHANNEL_2) != HAL_OK)
  {
    Error_Handler();
  }
  sBreakDeadTimeConfig.OffStateRunMode = TIM_OSSR_DISABLE;
  sBreakDeadTimeConfig.OffStateIDLEMode = TIM_OSSI_DISABLE;
  sBreakDeadTimeConfig.LockLevel = TIM_LOCKLEVEL_OFF;
  sBreakDeadTimeConfig.DeadTime = 0;
  sBreakDeadTimeConfig.BreakState = TIM_BREAK_DISABLE;
  sBreakDeadTimeConfig.BreakPolarity = TIM_BREAKPOLARITY_HIGH;
  sBreakDeadTimeConfig.AutomaticOutput = TIM_AUTOMATICOUTPUT_DISABLE;
  if (HAL_TIMEx_ConfigBreakDeadTime(&htim1, &sBreakDeadTimeConfig) != HAL_OK)
  {
    Error_Handler();
  }
  HAL_TIM_MspPostInit(&htim1);

}

static void MX_USART1_UART_Init(void)
{

  huart1.Instance = USART1;
  huart1.Init.BaudRate = 115200;
  huart1.Init.WordLength = UART_WORDLENGTH_8B;
  huart1.Init.StopBits = UART_STOPBITS_1;
  huart1.Init.Parity = UART_PARITY_NONE;
  huart1.Init.Mode = UART_MODE_TX_RX;
  huart1.Init.HwFlowCtl = UART_HWCONTROL_NONE;
  huart1.Init.OverSampling = UART_OVERSAMPLING_16;
  if (HAL_UART_Init(&huart1) != HAL_OK)
  {
    Error_Handler();
  }

}

static void MX_GPIO_Init(void)
{
  GPIO_InitTypeDef GPIO_InitStruct = {0};

  /* GPIO Ports Clock Enable */
  __HAL_RCC_GPIOC_CLK_ENABLE();
  __HAL_RCC_GPIOA_CLK_ENABLE();
  __HAL_RCC_GPIOB_CLK_ENABLE();

  /*Configure GPIO pin : PC13 */
  GPIO_InitStruct.Pin = GPIO_PIN_13;
  GPIO_InitStruct.Mode = GPIO_MODE_IT_RISING;
  GPIO_InitStruct.Pull = GPIO_NOPULL;
  HAL_GPIO_Init(GPIOC, &GPIO_InitStruct);

  /* USER CODE BEGIN MX_GPIO_Init_2 */
  {   /* PA8 (crvena LED) i PA9 (IR LED) kao obicni izlazi, pocetno nisko = LED ugasene */
      GPIO_InitTypeDef g = {0};
      HAL_GPIO_WritePin(GPIOA, LED_RED_Pin | LED_IR_Pin, GPIO_PIN_RESET);
      g.Pin   = LED_RED_Pin | LED_IR_Pin;
      g.Mode  = GPIO_MODE_OUTPUT_PP;
      g.Pull  = GPIO_NOPULL;
      g.Speed = GPIO_SPEED_FREQ_HIGH;
      HAL_GPIO_Init(GPIOA, &g);
  }

  /* USER CODE END MX_GPIO_Init_2 */
}

void Error_Handler(void)
{
  __disable_irq();
  while (1)
  {
  }
}
